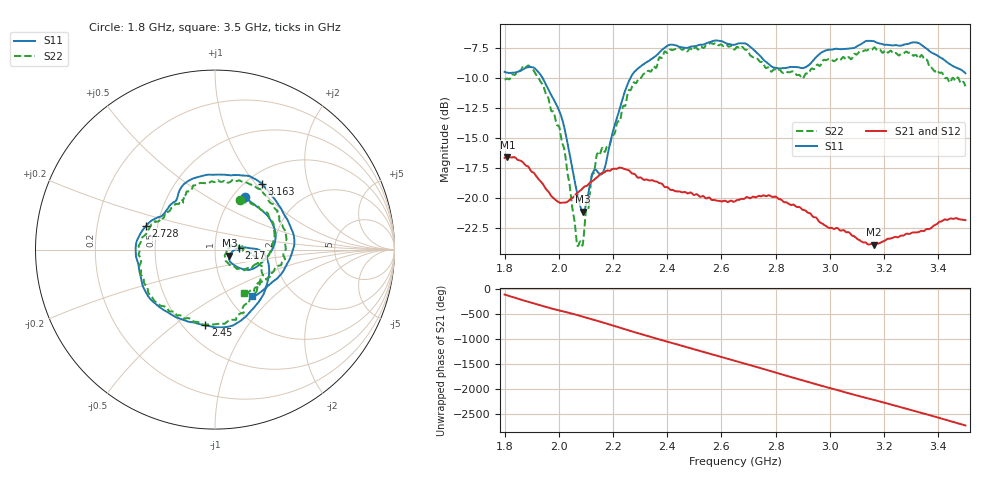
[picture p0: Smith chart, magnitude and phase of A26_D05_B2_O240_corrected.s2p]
! Created with skrf 1.9.0 (http://scikit-rf.org).
# Hz S RI R 50.0
!freq ReS11 ImS11 ReS21 ImS21 ReS12 ImS12 ReS22 ImS22
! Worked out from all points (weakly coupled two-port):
!   1601 points, 1.8 GHz to 3.5 GHz, reference 50 ohm
!   highest |S21| = -16.59 dB at 1.811 GHz (marker M1); lowest = -23.9 dB at 3.161 GHz (marker M2)
!   lowest |S11| = -21.2 dB at 2.089 GHz (marker M3), VSWR 1.19, Z = 58.6 - j4.06 ohm
!   |S11| at or under -10 dB: 1.94 GHz to 2.264 GHz (323.7 MHz wide, 15.4 % of centre)
!   |S22| runs from -24.0 to -7.1 dB; largest |S21 - S12| = 0.0026
!   S11 on the Smith chart (normalised r, x): 1.8 GHz: 1.13, +0.75; 2.17 GHz: 1.31, +0.03; 2.45 GHz: 0.64, -0.66; 2.728 GHz: 0.43, +0.14; 3.163 GHz: 1.17, +1.08; 3.5 GHz: 1.27, -0.74
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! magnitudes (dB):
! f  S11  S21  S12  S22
! 1.8 GHz  -9.5  -16.7  -16.7  -10.1
! 1.811 GHz  -9.6  -16.6  -16.6  -10.0
! 1.887 GHz  -9.1  -17.4  -17.5  -9.0
! 1.941 GHz  -10.0  -18.9  -18.9  -10.6
! 2.011 GHz  -13.4  -20.4  -20.4  -15.3
! 2.066 GHz  -19.4  -19.6  -19.6  -23.6
! 2.084 GHz  -21.0  -19.3  -19.3  -23.8
! 2.089 GHz  -21.2  -19.2  -19.2  -23.8
! 2.137 GHz  -17.7  -18.4  -18.4  -16.8
! 2.17 GHz  -17.5  -17.9  -17.9  -16.2
! 2.26 GHz  -10.2  -17.7  -17.8  -11.0
! 2.367 GHz  -8.0  -18.7  -18.7  -8.5
! 2.45 GHz  -7.4  -19.5  -19.5  -7.6
! 2.65 GHz  -7.2  -20.3  -20.3  -7.6
! 2.728 GHz  -7.8  -20.0  -20.0  -8.4
! 2.806 GHz  -9.2  -20.0  -20.0  -9.4
! 2.934 GHz  -8.7  -21.5  -21.5  -9.2
! 3.161 GHz  -6.9  -23.9  -23.9  -7.5
! 3.163 GHz  -6.9  -23.9  -23.9  -7.5
! 3.217 GHz  -7.2  -23.4  -23.4  -7.8
! 3.325 GHz  -7.1  -22.9  -22.8  -8.3
! 3.5 GHz  -9.6  -21.9  -21.9  -10.7
